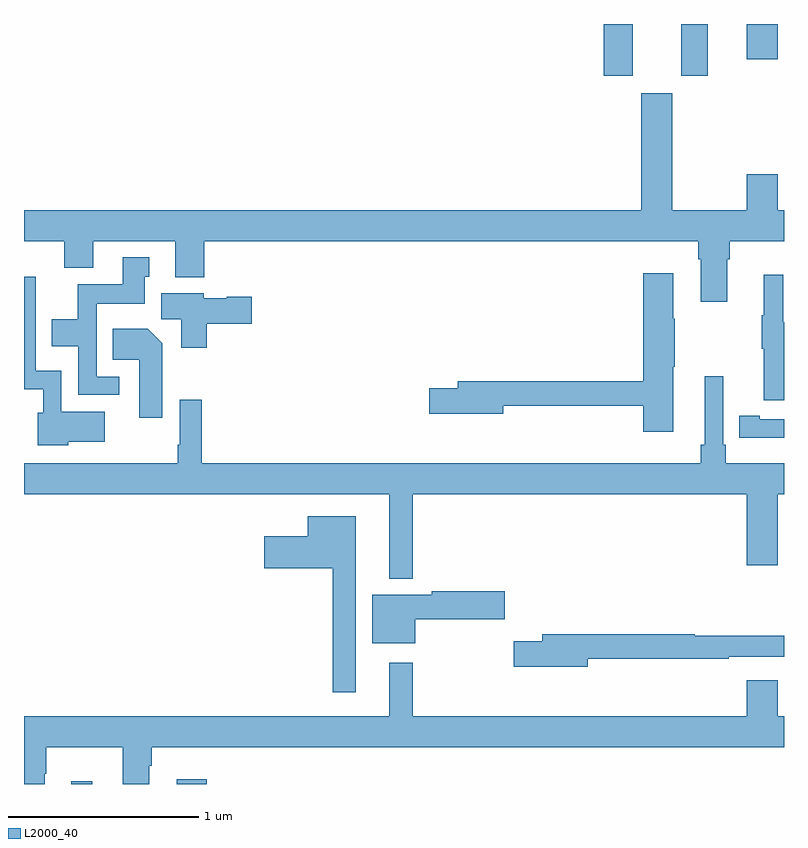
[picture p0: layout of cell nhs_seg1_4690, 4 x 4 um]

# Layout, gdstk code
import gdstk
lib = gdstk.Library(unit=1e-6, precision=1e-09)
def R(c, l, rs):  # rectangles x0, y0, x1, y1
    for r in rs: c.add(gdstk.rectangle(r[:2], r[2:], *l))
def P(c, l, *ps):  # polygons
    for p in ps: c.add(gdstk.Polygon(p, *l))
L2000_40 = (2000, 40)

nhs_seg1_4690 = lib.new_cell('nhs_seg1_4690')
R(nhs_seg1_4690, L2000_40, [(365.249,558.199,365.359,558.214), (365.804,558.199,365.963,558.223), (368.051,561.927,368.203,562.199), (368.459,561.927,368.599,562.199), (368.804,562.014,368.968,562.199)])
P(nhs_seg1_4690, L2000_40, [(368.701,560.96),(368.714,560.96),(368.714,561.056),(369,561.056),(369,561.22),(368.968,561.22),(368.968,561.409),(368.804,561.409),(368.804,561.22),(368.413,561.22),(368.413,561.835),(368.249,561.835),(368.249,561.22),(365,561.22),(365,561.056),(365.213,561.056),(365.213,560.915),(365.365,560.915),(365.365,561.056),(365.795,561.056),(365.795,560.867),(365.948,560.867),(365.948,561.056),(368.549,561.056),(368.549,560.96),(368.561,560.96),(368.561,560.736),(368.701,560.736)],
  [(365.5,560.343),(365.382,560.343),(365.382,560.726),(365.635,560.726),(365.635,560.868),(365.659,560.868),(365.659,560.971),(365.519,560.971),(365.519,560.83),(365.284,560.83),(365.284,560.644),(365.147,560.644),(365.147,560.504),(365.286,560.504),(365.286,560.247),(365.5,560.247)],
  [(368.416,560.395),(368.424,560.395),(368.424,560.648),(368.416,560.648),(368.416,560.887),(368.258,560.887),(368.258,560.318),(367.283,560.318),(367.283,560.282),(367.134,560.282),(367.134,560.147),(367.522,560.147),(367.522,560.19),(368.258,560.19),(368.258,560.052),(368.416,560.052)],
  [(369,560.628),(368.996,560.628),(368.996,560.878),(368.894,560.878),(368.894,560.665),(368.883,560.665),(368.883,560.491),(368.894,560.491),(368.894,560.22),(369,560.22)],
  [(365.232,560),(365.425,560),(365.425,560.158),(365.196,560.158),(365.196,560.374),(365.062,560.374),(365.062,560.869),(365,560.869),(365,560.277),(365.1,560.277),(365.1,560.154),(365.072,560.154),(365.072,559.982),(365.232,559.982)],
  [(365.963,560.621),(366.199,560.621),(366.199,560.763),(366.066,560.763),(366.066,560.755),(365.946,560.755),(365.946,560.782),(365.723,560.782),(365.723,560.644),(365.828,560.644),(365.828,560.496),(365.963,560.496)],
  [(365.728,560.518),(365.65,560.596),(365.467,560.596),(365.467,560.432),(365.606,560.432),(365.606,560.127),(365.728,560.127)],
  [(367.045,559.724),(368.804,559.724),(368.804,559.35),(368.968,559.35),(368.968,559.724),(369,559.724),(369,559.888),(368.693,559.888),(368.693,559.984),(368.679,559.984),(368.679,560.344),(368.582,560.344),(368.582,559.984),(368.563,559.984),(368.563,559.888),(365.936,559.888),(365.936,560.221),(365.82,560.221),(365.82,559.984),(365.808,559.984),(365.808,559.888),(365,559.888),(365,559.724),(366.923,559.724),(366.923,559.28),(367.045,559.28)],
  [(369,560.118),(368.872,560.118),(368.872,560.138),(368.764,560.138),(368.764,560.022),(368.872,560.022),(368.872,560.021),(369,560.021)],
  [(366.745,559.609),(366.494,559.609),(366.494,559.504),(366.264,559.504),(366.264,559.334),(366.624,559.334),(366.624,558.681),(366.745,558.681)],
  [(367.06,559.067),(367.531,559.067),(367.531,559.214),(367.146,559.214),(367.146,559.195),(366.833,559.195),(366.833,558.941),(367.06,558.941)],
  [(367.966,558.858),(368.708,558.858),(368.708,558.87),(369,558.87),(369,558.979),(368.531,558.979),(368.531,558.986),(367.727,558.986),(367.727,558.95),(367.578,558.95),(367.578,558.815),(367.966,558.815)],
  [(368.804,558.745),(368.804,558.556),(367.045,558.556),(367.045,558.838),(366.923,558.838),(366.923,558.556),(365,558.556),(365,558.199),(365.11,558.199),(365.11,558.254),(365.118,558.254),(365.118,558.392),(365.519,558.392),(365.519,558.199),(365.659,558.199),(365.659,558.296),(365.672,558.296),(365.672,558.392),(369,558.392),(369,558.556),(368.968,558.556),(368.968,558.745)])

lib.write_gds('nhs_seg1_4690.gds')
